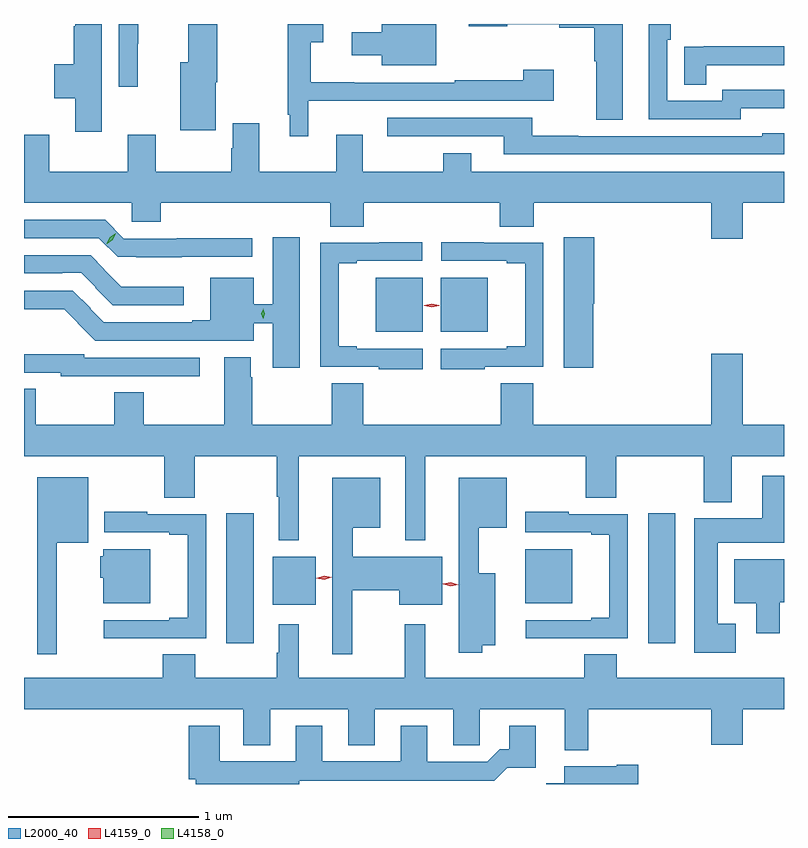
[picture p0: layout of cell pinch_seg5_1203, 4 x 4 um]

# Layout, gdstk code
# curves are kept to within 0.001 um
import gdstk
lib = gdstk.Library(unit=1e-6, precision=1e-09)
def R(c, l, rs):  # rectangles x0, y0, x1, y1
    for r in rs: c.add(gdstk.rectangle(r[:2], r[2:], *l))
def P(c, l, *ps):  # polygons
    for p in ps: c.add(gdstk.Polygon(p, *l))
L2000_40 = (2000, 40)
L4158_0 = (4158, 0)
L4159_0 = (4159, 0)

pinch_seg5_1203 = lib.new_cell('pinch_seg5_1203')
R(pinch_seg5_1203, L2000_40, [(450.167,873.09,450.31,873.775), (452.387,873.09,452.53,873.775), (450.41,873.293,450.637,873.547), (451.739,873.302,451.987,873.586), (450.953,874.73,451.201,875.014), (451.295,874.73,451.543,875.014)])
P(pinch_seg5_1203, L2000_40, [(450.112,876.044),(450.12,876.044),(450.12,876.35),(449.966,876.35),(449.966,876.148),(449.924,876.148),(449.924,875.792),(450.112,875.792)],
  [(452.874,875.906),(453.102,875.906),(453.102,876.004),(452.778,876.004),(452.778,875.946),(452.487,875.946),(452.487,876.266),(452.505,876.266),(452.505,876.35),(452.39,876.35),(452.39,875.85),(452.874,875.85)],
  [(449.512,876.35),(449.372,876.35),(449.372,876.339),(449.365,876.339),(449.365,876.137),(449.261,876.137),(449.261,875.959),(449.372,875.959),(449.372,875.784),(449.512,875.784)],
  [(451.273,876.35),(450.986,876.35),(450.986,876.307),(450.828,876.307),(450.828,876.185),(450.986,876.185),(450.986,876.134),(451.273,876.134)],
  [(450.598,875.945),(450.926,875.945),(450.926,875.946),(451.891,875.946),(451.891,876.109),(451.73,876.109),(451.73,876.055),(451.369,876.055),(451.369,876.042),(450.84,876.042),(450.84,876.043),(450.61,876.043),(450.61,876.254),(450.676,876.254),(450.676,876.35),(450.489,876.35),(450.489,875.872),(450.5,875.872),(450.5,875.76),(450.598,875.76)],
  [(449.7,876.246),(449.702,876.246),(449.702,876.35),(449.601,876.35),(449.601,876.021),(449.7,876.021)],
  [(452.254,876.35),(451.442,876.35),(451.442,876.339),(451.646,876.339),(451.646,876.349),(451.918,876.349),(451.918,876.331),(452.102,876.331),(452.102,876.154),(452.114,876.154),(452.114,875.845),(452.254,875.845)],
  [(452.693,876.134),(453.102,876.134),(453.102,876.232),(452.68,876.232),(452.68,876.231),(452.578,876.231),(452.578,876.031),(452.693,876.031)],
  [(453.102,875.776),(452.988,875.776),(452.988,875.76),(452.018,875.76),(452.018,875.762),(451.776,875.762),(451.776,875.856),(451.014,875.856),(451.014,875.76),(451.628,875.76),(451.628,875.664),(453.102,875.664)],
  [(452.884,875.408),(453.102,875.408),(453.102,875.572),(451.456,875.572),(451.456,875.671),(451.309,875.671),(451.309,875.572),(450.886,875.572),(450.886,875.767),(450.746,875.767),(450.746,875.572),(450.34,875.572),(450.34,875.827),(450.2,875.827),(450.2,875.696),(450.193,875.696),(450.193,875.572),(449.796,875.572),(449.796,875.767),(449.648,875.767),(449.648,875.572),(449.236,875.572),(449.236,875.767),(449.102,875.767),(449.102,875.408),(449.67,875.408),(449.67,875.31),(449.822,875.31),(449.822,875.408),(450.713,875.408),(450.713,875.284),(450.89,875.284),(450.89,875.408),(451.607,875.408),(451.607,875.284),(451.784,875.284),(451.784,875.408),(452.72,875.408),(452.72,875.22),(452.884,875.22)],
  [(449.931,875.124),(450.304,875.124),(450.304,875.222),(449.905,875.222),(449.905,875.22),(449.628,875.22),(449.529,875.319),(449.102,875.319),(449.102,875.223),(449.496,875.223),(449.595,875.124)],
  [(450.553,875.227),(450.41,875.227),(450.41,874.875),(450.31,874.875),(450.31,875.014),(450.083,875.014),(450.083,874.792),(449.987,874.792),(449.987,874.779),(449.523,874.779),(449.45,874.852),(449.452,874.854),(449.359,874.947),(449.103,874.947),(449.103,874.849),(449.314,874.849),(449.386,874.777),(449.384,874.776),(449.477,874.683),(450.31,874.683),(450.31,874.775),(450.41,874.775),(450.41,874.542),(450.553,874.542)],
  [(452.099,874.878),(452.104,874.878),(452.104,875.227),(451.943,875.227),(451.943,874.542),(452.099,874.542)],
  [(451.201,874.641),(450.853,874.641),(450.853,874.654),(450.758,874.654),(450.758,875.091),(450.853,875.091),(450.853,875.103),(451.198,875.103),(451.198,875.201),(450.973,875.201),(450.973,875.199),(450.66,875.199),(450.66,874.545),(450.97,874.545),(450.97,874.533),(451.201,874.533)],
  [(451.526,874.545),(451.836,874.545),(451.836,875.199),(451.523,875.199),(451.523,875.201),(451.299,875.201),(451.299,875.103),(451.643,875.103),(451.643,875.091),(451.739,875.091),(451.739,874.654),(451.643,874.654),(451.643,874.641),(451.296,874.641),(451.296,874.533),(451.526,874.533)],
  [(449.944,874.966),(449.615,874.966),(449.523,875.058),(449.525,875.06),(449.452,875.133),(449.102,875.133),(449.102,875.037),(449.303,875.037),(449.303,875.04),(449.403,875.04),(449.479,874.964),(449.477,874.962),(449.57,874.869),(449.944,874.869)],
  [(451.781,874.46),(451.61,874.46),(451.61,874.24),(450.887,874.24),(450.887,874.46),(450.721,874.46),(450.721,874.24),(450.303,874.24),(450.303,874.49),(450.295,874.49),(450.295,874.597),(450.155,874.597),(450.155,874.24),(449.733,874.24),(449.733,874.412),(449.578,874.412),(449.578,874.24),(449.163,874.24),(449.163,874.43),(449.102,874.43),(449.102,874.076),(449.839,874.076),(449.839,873.856),(450,873.856),(450,874.076),(450.433,874.076),(450.433,873.862),(450.443,873.862),(450.443,873.632),(450.547,873.632),(450.547,874.076),(451.109,874.076),(451.109,873.632),(451.213,873.632),(451.213,874.076),(452.059,874.076),(452.059,873.856),(452.22,873.856),(452.22,874.076),(452.68,874.076),(452.68,873.833),(452.827,873.833),(452.827,874.076),(453.102,874.076),(453.102,874.24),(452.884,874.24),(452.884,874.615),(452.72,874.615),(452.72,874.24),(451.781,874.24)],
  [(450.028,874.593),(449.418,874.593),(449.418,874.612),(449.195,874.612),(449.195,874.611),(449.102,874.611),(449.102,874.515),(449.295,874.515),(449.295,874.497),(450.028,874.497)],
  [(452.848,873.193),(452.752,873.193),(452.752,873.62),(453.102,873.62),(453.102,873.973),(452.987,873.973),(452.987,873.748),(452.63,873.748),(452.63,873.041),(452.848,873.041)],
  [(449.275,873.62),(449.44,873.62),(449.44,873.964),(449.171,873.964),(449.171,873.033),(449.275,873.033)],
  [(451.513,873.08),(451.582,873.08),(451.582,873.46),(451.495,873.46),(451.495,873.698),(451.642,873.698),(451.642,873.961),(451.391,873.961),(451.391,873.041),(451.513,873.041)],
  [(450.829,873.371),(451.076,873.371),(451.076,873.293),(451.303,873.293),(451.303,873.547),(450.832,873.547),(450.832,873.698),(450.976,873.698),(450.976,873.961),(450.725,873.961),(450.725,873.033),(450.829,873.033)],
  [(449.747,873.117),(450.06,873.117),(450.06,873.771),(449.75,873.771),(449.75,873.784),(449.525,873.784),(449.525,873.675),(449.867,873.675),(449.867,873.663),(449.963,873.663),(449.963,873.226),(449.867,873.226),(449.867,873.213),(449.523,873.213),(449.523,873.116),(449.747,873.116)],
  [(451.967,873.117),(452.28,873.117),(452.28,873.771),(451.97,873.771),(451.97,873.784),(451.74,873.784),(451.74,873.675),(452.087,873.675),(452.087,873.663),(452.183,873.663),(452.183,873.226),(452.087,873.226),(452.087,873.213),(451.743,873.213),(451.743,873.116),(451.967,873.116)],
  [(449.767,873.586),(449.519,873.586),(449.519,873.549),(449.504,873.549),(449.504,873.435),(449.519,873.435),(449.519,873.302),(449.767,873.302)],
  [(453.079,873.306),(453.102,873.306),(453.102,873.532),(452.84,873.532),(452.84,873.302),(452.957,873.302),(452.957,873.144),(453.079,873.144)],
  [(452.071,872.744),(452.72,872.744),(452.72,872.556),(452.884,872.556),(452.884,872.744),(453.102,872.744),(453.102,872.908),(452.223,872.908),(452.223,873.032),(452.051,873.032),(452.051,872.908),(451.213,872.908),(451.213,873.19),(451.107,873.19),(451.107,872.908),(450.547,872.908),(450.547,873.19),(450.443,873.19),(450.443,873.041),(450.433,873.041),(450.433,872.908),(450.003,872.908),(450.003,873.032),(449.831,873.032),(449.831,872.908),(449.102,872.908),(449.102,872.744),(450.257,872.744),(450.257,872.555),(450.397,872.555),(450.397,872.744),(450.809,872.744),(450.809,872.554),(450.949,872.554),(450.949,872.744),(451.361,872.744),(451.361,872.554),(451.5,872.554),(451.5,872.744),(451.949,872.744),(451.949,872.528),(452.071,872.528)],
  [(450.55,872.368),(451.321,872.368),(451.321,872.366),(451.577,872.366),(451.646,872.435),(451.795,872.435),(451.795,872.656),(451.655,872.656),(451.655,872.533),(451.606,872.533),(451.539,872.466),(451.225,872.466),(451.225,872.656),(451.085,872.656),(451.085,872.469),(450.673,872.469),(450.673,872.656),(450.533,872.656),(450.533,872.47),(450.133,872.47),(450.133,872.656),(449.969,872.656),(449.969,872.376),(450.005,872.376),(450.005,872.35),(450.55,872.35)],
  [(452.335,872.451),(452.222,872.451),(452.222,872.443),(451.946,872.443),(451.946,872.353),(451.85,872.353),(451.85,872.35),(452.335,872.35)])
P(pinch_seg5_1203, L4158_0, [(450.36,874.798),(450.36,874.798),(450.35,874.824),(450.36,874.85),(450.36,874.851),(450.36,874.85),(450.37,874.824),(450.36,874.798)],
  [(449.538,875.194),(449.538,875.194),(449.554,875.228),(449.584,875.249),(449.585,875.249),(449.585,875.249),(449.569,875.215),(449.539,875.194)])
P(pinch_seg5_1203, L4159_0, [(451.248,874.858),(451.208,874.868),(451.208,874.868),(451.208,874.869),(451.248,874.878),(451.288,874.869),(451.288,874.868),(451.288,874.868)],
  [(451.348,873.391),(451.308,873.402),(451.307,873.403),(451.308,873.403),(451.348,873.411),(451.388,873.4),(451.388,873.399),(451.388,873.399)],
  [(450.682,873.426),(450.641,873.434),(450.641,873.434),(450.641,873.434),(450.682,873.445),(450.723,873.437),(450.723,873.437),(450.723,873.437)])

lib.write_gds('pinch_seg5_1203.gds')
